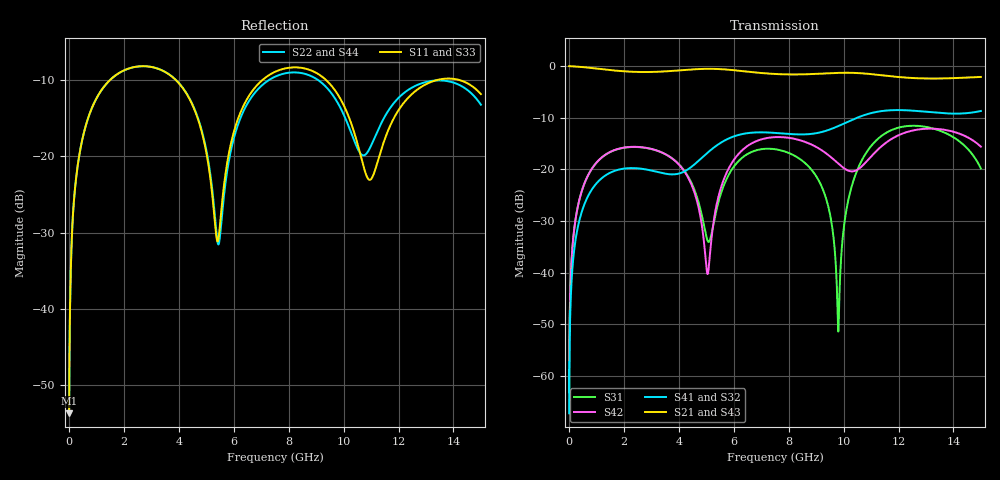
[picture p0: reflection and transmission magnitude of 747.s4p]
! Created with skrf 1.8.0 (http://scikit-rf.org).
# GHz S RI R 50.0
!freq ReS11 ImS11 ReS12 ImS12 ReS13 ImS13
! ReS14 ImS14
! ReS21 ImS21 ReS22 ImS22 ReS23 ImS23
! ReS24 ImS24
! ReS31 ImS31 ReS32 ImS32 ReS33 ImS33
! ReS34 ImS34
! ReS41 ImS41 ReS42 ImS42 ReS43 ImS43
! ReS44 ImS44
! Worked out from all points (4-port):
!   2499 points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, 5 MHz to 15 GHz, reference 50 ohm
!   strongest paths, dB at 5 MHz, 3.476 GHz, 7.19 GHz, 11.1 GHz, 15 GHz:
!     S21: 0.0, -1.0, -1.4, -1.6, -2.1
!     S43: 0.0, -1.0, -1.4, -1.6, -2.1
!     S41: -67.2, -20.8, -12.8, -9.0, -8.7
!     S32: -67.2, -20.9, -12.9, -9.0, -8.7
!     S42: -63.2, -17.0, -14.0, -17.0, -15.6
!     S31: -63.2, -17.0, -16.0, -14.9, -19.8
!   lowest |S11| = -53.7 dB at 5 MHz (marker M1), VSWR 1.00, Z = 50.2 + j0.125 ohm
!   |S11| at or under -10 dB: start of sweep to 1.493 GHz; 3.891 GHz to 7.045 GHz (3.154 GHz wide, 57.7 % of centre); 9.361 GHz to 13.4 GHz (4.041 GHz wide, 35.5 % of centre) (the widest 3 of 4)
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0.005  0.00165 0.00125  0.9983 -0.00322  8.42e-05 0.000688  -8.16e-05 -0.000426
       0.9983 -0.00322  0.00165 0.00125  -8.16e-05 -0.000426  8.42e-05 0.000688
       8.42e-05 0.000688  -8.16e-05 -0.000426  0.00165 0.00125  0.9983 -0.00322
       -8.16e-05 -0.000426  8.42e-05 0.000688  0.9983 -0.00322  0.00165 0.00125
1.569404  0.2749 0.1741  0.5369 -0.736  0.1356 0.0643  -0.0945 -0.00378
          0.5369 -0.736  0.2745 0.1745  -0.0944 -0.00393  0.1368 0.0626
          0.1356 0.0643  -0.0944 -0.00393  0.275 0.1741  0.5369 -0.736
          -0.0945 -0.00378  0.1368 0.0626  0.5369 -0.736  0.2744 0.1745
5.045852  0.0451 -0.0842  -0.8968 -0.2854  -0.0188 -0.00798  -0.0383 0.1397
          -0.8968 -0.2854  0.0457 -0.0886  -0.0402 0.1391  0.00966 -0.000503
          -0.0188 -0.00798  -0.0402 0.1391  0.0449 -0.0831  -0.897 -0.2849
          -0.0383 0.1397  0.00966 -0.000503  -0.897 -0.2849  0.0452 -0.0876
8.44727  0.377 -0.0516  0.0124 0.8309  0.1196 -0.0323  0.2089 -0.0618
         0.0124 0.8309  0.351 -0.0215  0.2086 -0.0564  0.1235 -0.1446
         0.1196 -0.0323  0.2086 -0.0564  0.3814 -0.054  0.012 0.8294
         0.2089 -0.0618  0.1235 -0.1446  0.012 0.8294  0.3541 -0.0183
9.804085  0.1831 -0.1728  0.597 0.6184  0.00247 0.00105  0.1807 -0.1902
          0.597 0.6184  0.1845 -0.1219  0.186 -0.1844  -0.0669 -0.0923
          0.00247 0.00105  0.186 -0.1844  0.1856 -0.1782  0.5946 0.6187
          0.1807 -0.1902  -0.0669 -0.0923  0.5946 0.6187  0.1913 -0.1225
11.21717  0.0834 0.0319  0.8242 -0.0351  0.0816 0.1758  -0.0405 -0.3584
          0.8242 -0.0351  0.1293 0.0631  -0.0307 -0.3591  0.00876 0.1523
          0.0816 0.1758  -0.0307 -0.3591  0.0821 0.0281  0.8245 -0.0325
          -0.0405 -0.3584  0.00876 0.1523  0.8245 -0.0325  0.1308 0.0557
15  0.2101 -0.1457  -0.3744 -0.6902  0.0657 -0.078  -0.2978 0.2155
    -0.3744 -0.6902  0.1852 -0.1149  -0.3058 0.2007  0.024 -0.1641
    0.0657 -0.078  -0.3058 0.2007  0.2104 -0.1504  -0.3731 -0.6909
    -0.2978 0.2155  0.024 -0.1641  -0.3731 -0.6909  0.1871 -0.1085
